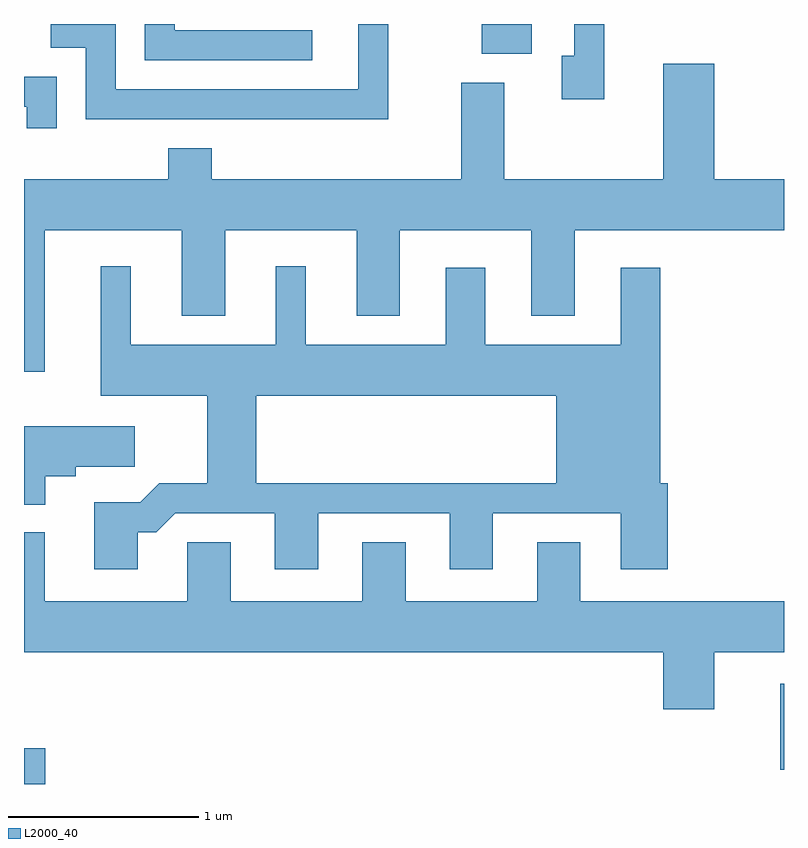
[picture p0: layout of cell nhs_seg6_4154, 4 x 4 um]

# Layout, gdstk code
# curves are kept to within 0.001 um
import gdstk
lib = gdstk.Library(unit=1e-6, precision=1e-09)
def R(c, l, rs):  # rectangles x0, y0, x1, y1
    for r in rs: c.add(gdstk.rectangle(r[:2], r[2:], *l))
def P(c, l, *ps):  # polygons
    for p in ps: c.add(gdstk.Polygon(p, *l))
L2000_40 = (2000, 40)

nhs_seg6_4154 = lib.new_cell('nhs_seg6_4154')
R(nhs_seg6_4154, L2000_40, [(311.611,1618.162,311.724,1618.349), (315.591,1618.236,315.611,1618.689), (314.021,1622.006,314.284,1622.162)])
P(nhs_seg6_4154, L2000_40, [(313.529,1622.162),(313.371,1622.162),(313.371,1621.819),(312.094,1621.819),(312.094,1622.162),(311.753,1622.162),(311.753,1622.036),(311.936,1622.036),(311.936,1621.661),(313.529,1621.661)],
  [(314.664,1622.162),(314.506,1622.162),(314.506,1621.994),(314.441,1621.994),(314.441,1621.766),(314.664,1621.766)],
  [(313.128,1622.129),(312.404,1622.129),(312.404,1622.162),(312.246,1622.162),(312.246,1621.971),(313.128,1621.971)],
  [(311.719,1621.076),(312.441,1621.076),(312.441,1620.626),(312.669,1620.626),(312.669,1621.076),(313.361,1621.076),(313.361,1620.626),(313.589,1620.626),(313.589,1621.076),(314.281,1621.076),(314.281,1620.626),(314.509,1620.626),(314.509,1621.076),(315.611,1621.076),(315.611,1621.344),(315.244,1621.344),(315.244,1621.954),(314.976,1621.954),(314.976,1621.344),(314.139,1621.344),(314.139,1621.854),(313.911,1621.854),(313.911,1621.344),(312.599,1621.344),(312.599,1621.509),(312.371,1621.509),(312.371,1621.344),(311.611,1621.344),(311.611,1620.333),(311.719,1620.333)],
  [(311.784,1621.884),(311.611,1621.884),(311.611,1621.726),(311.626,1621.726),(311.626,1621.613),(311.784,1621.613)],
  [(312.209,1619.486),(312.307,1619.486),(312.407,1619.586),(312.931,1619.586),(312.931,1619.291),(313.159,1619.291),(313.159,1619.586),(313.851,1619.586),(313.851,1619.291),(314.079,1619.291),(314.079,1619.586),(314.751,1619.586),(314.751,1619.291),(314.999,1619.291),(314.999,1619.744),(314.959,1619.744),(314.959,1620.879),(314.751,1620.879),(314.751,1620.474),(314.039,1620.474),(314.039,1620.879),(313.831,1620.879),(313.831,1620.474),(313.094,1620.474),(313.094,1620.888),(312.936,1620.888),(312.936,1620.474),(312.174,1620.474),(312.174,1620.888),(312.016,1620.888),(312.016,1620.206),(312.576,1620.206),(312.576,1619.744),(312.834,1619.744),(312.834,1620.206),(314.411,1620.206),(314.411,1619.744),(312.324,1619.744),(312.224,1619.644),(311.981,1619.644),(311.981,1619.291),(312.209,1619.291)],
  [(311.724,1619.781),(311.884,1619.781),(311.884,1619.831),(312.194,1619.831),(312.194,1620.044),(311.611,1620.044),(311.611,1619.631),(311.724,1619.631)],
  [(315.244,1618.856),(315.611,1618.856),(315.611,1619.124),(314.539,1619.124),(314.539,1619.434),(314.311,1619.434),(314.311,1619.124),(313.619,1619.124),(313.619,1619.434),(313.391,1619.434),(313.391,1619.124),(312.699,1619.124),(312.699,1619.434),(312.471,1619.434),(312.471,1619.124),(311.719,1619.124),(311.719,1619.488),(311.611,1619.488),(311.611,1618.856),(314.976,1618.856),(314.976,1618.556),(315.244,1618.556)])

lib.write_gds('nhs_seg6_4154.gds')
